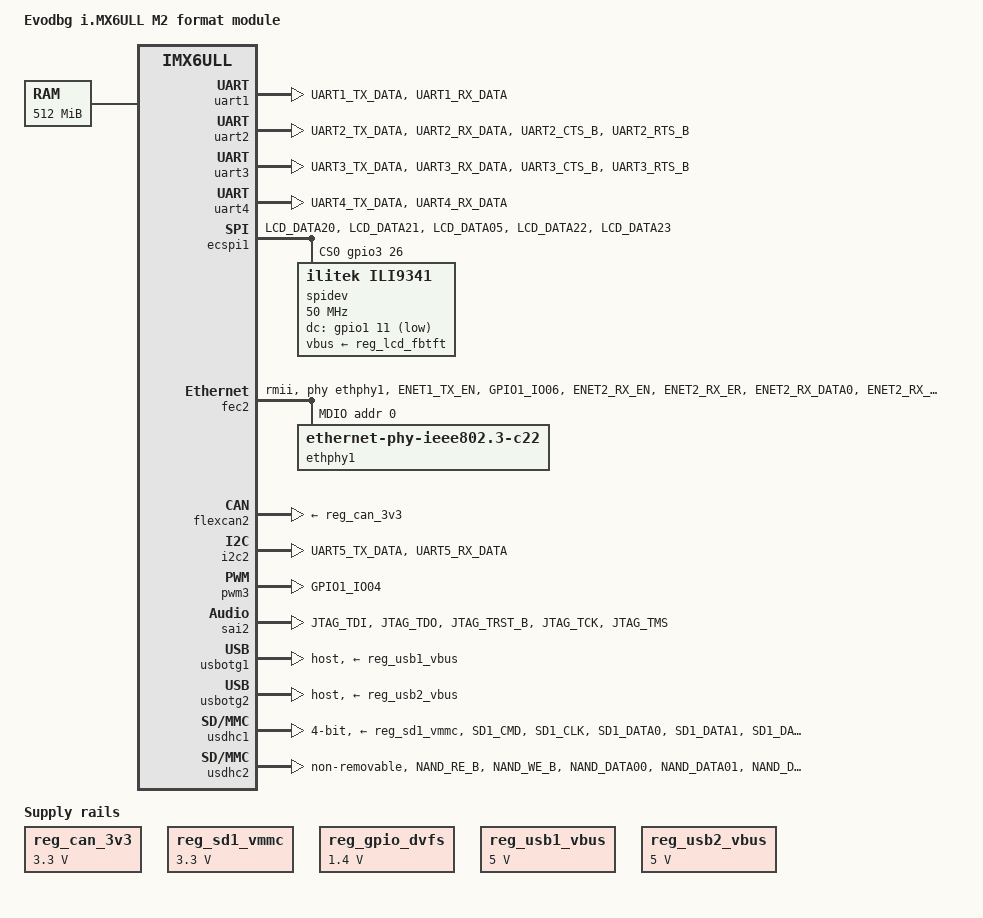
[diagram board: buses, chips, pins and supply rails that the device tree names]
/*
 * Copyright (C) 2015 Freescale Semiconductor, Inc.
 *
 * This program is free software; you can redistribute it and/or modify
 * it under the terms of the GNU General Public License version 2 as
 * published by the Free Software Foundation.
 */

 /*
  * EV-iMX6UL-NANO module
  * www.evodbg.com
  * contact  r.sariev@evodbg.com
  */ 

/dts-v1/;

#include <dt-bindings/input/input.h>
#include "imx6ull.dtsi"


/ {
	model = "Evodbg i.MX6ULL M2 format module";
	compatible = "fsl,imx6ull-14x14-evk", "fsl,imx6ull";

	chosen {
		stdout-path = &uart1;
	};

	memory {
		reg = <0x80000000 0x20000000>;
	};

	reserved-memory {
		#address-cells = <1>;
		#size-cells = <1>;
		ranges;

		linux,cma {
			compatible = "shared-dma-pool";
			reusable;
			size = <0x14000000>;
			linux,cma-default;
		};
	};

	regulators {
		compatible = "simple-bus";
		#address-cells = <1>;
		#size-cells = <0>;

		reg_can_3v3: regulator@0 {
			compatible = "regulator-fixed";
			reg = <0>;
			regulator-name = "can-3v3";
			regulator-min-microvolt = <3300000>;
			regulator-max-microvolt = <3300000>;
			regulator-always-on;
		};

		reg_sd1_vmmc: regulator@1 {
			compatible = "regulator-fixed";
			regulator-name = "VSD_3V3";
			regulator-min-microvolt = <3300000>;
			regulator-max-microvolt = <3300000>;
			regulator-always-on;
		};
		
		reg_gpio_dvfs: regulator-gpio {
                        compatible = "regulator-fixed";
                        regulator-min-microvolt = <1400000>;
                        regulator-max-microvolt = <1400000>;
                        regulator-name = "gpio_dvfs";
                        regulator-always-on;
                };
                reg_usb1_vbus: regulator@2 {
                        compatible = "regulator-fixed";
                        reg = <2>;
                        regulator-name = "usb1_vbus";
                        regulator-min-microvolt = <5000000>;
                        regulator-max-microvolt = <5000000>;
			regulator-always-on;
                };


		reg_usb2_vbus: regulator@3 {
			reg = <3>;
			compatible = "regulator-fixed";
			regulator-name = "usb2_vbus";
			regulator-min-microvolt = <5000000>;
			regulator-max-microvolt = <5000000>;
			regulator-always-on;
		};
		reg_lcd_fbtft: regulator@4 {
			reg = <4>;
			regulator-name = "lcd_3v3";
                        regulator-min-microvolt = <3300000>;
                        regulator-max-microvolt = <3300000>;
			regulator-always-on;
                };
	};
		sound {
	};
};

&cpu0 {
	arm-supply = <&reg_arm>;
	soc-supply = <&reg_soc>;
	dc-supply = <&reg_gpio_dvfs>;
};

&clks {
	assigned-clocks = <&clks IMX6UL_CLK_PLL4_AUDIO_DIV>;
	assigned-clock-rates = <786432000>;
};

&csi {
	status = "disabled";
};

&uart1 {					// DUART console / UART1
	pinctrl-names = "default";
	pinctrl-0 = <&pinctrl_uart1>;
	status = "okay";
};


&uart2 { 					// UART2 RS485 mode
	pinctrl-names = "default";
	pinctrl-0 = <&pinctrl_uart2>;
	fsl,uart-has-rtscts;
	linux,rs485-enabled-at-boot-time;
	status = "okay";
};


&uart3 {					// UART3 RS485 mode
	pinctrl-names = "default";
	pinctrl-0 = <&pinctrl_uart3>;
	fsl,uart-has-rtscts;
	linux,rs485-enabled-at-boot-time;
	status = "okay";
};


&uart4 {					// UART4 
	pinctrl-names = "default";
	pinctrl-0 = <&pinctrl_uart4>;
	status = "okay";
};


&ecspi1 {
	fsl,spi-num-chipselects = <1>;
        cs-gpios = <&gpio3 26 0>;
	pinctrl-names = "default";
	pinctrl-0 = <&pinctrl_ecspi1>;
	status = "okay";

	spidev@0 {
		rotate = <90>;
                bgr;
                fps = <30>;
                compatible = "ilitek,ili9341";
                spi-max-frequency = <50000000>;   
                reg = <0>;
                regwidth = <8>;
                buswidth = <8>;
                verbose = <3>;
		dc-gpios = <&gpio1 11 GPIO_ACTIVE_LOW>;    /* JTAG_TMS */
		vbus-supply = <&reg_lcd_fbtft>;

	};
};

&fec2 {
        pinctrl-names = "default";
        pinctrl-0 = <&pinctrl_enet2>;
        phy-mode = "rmii";
        phy-reset-gpios = <&gpio3 23 1>;
        phy-reset-duration = <250>;
        phy-handle = <&ethphy1>;
        status = "okay";

        mdio {
                #address-cells = <1>;
                #size-cells = <0>;

                ethphy1: ethernet-phy@1 {
                        compatible = "ethernet-phy-ieee802.3-c22";
                        reg = <0>;
                };
        };
};



/* flexcan2 muxed with UART2 RTS/CTS pins */
&flexcan2 {
	pinctrl-names = "default";
	pinctrl-0 = <&pinctrl_flexcan2>;
	xceiver-supply = <&reg_can_3v3>;
	status = "okay";
};

&gpc {
	fsl,cpu_pupscr_sw2iso = <0x1>;
	fsl,cpu_pupscr_sw = <0x0>;
	fsl,cpu_pdnscr_iso2sw = <0x1>;
	fsl,cpu_pdnscr_iso = <0x1>;
	fsl,ldo-bypass = <0>; /* DCDC, ldo-enable */
};


&i2c2 {
	clock_frequency = <100000>;
	pinctrl-names = "default";
	pinctrl-0 = <&pinctrl_i2c2>;
	status = "okay";
};

&iomuxc_snvs {
        pinctrl-names = "default_snvs";
        pinctrl-0 = <&pinctrl_hog_2>;
        imx6ul-evk {
                pinctrl_hog_2: hoggrp-2 {
                        fsl,pins = <
				MX6UL_PAD_LCD_DATA18__GPIO3_IO23	0xb0
                        >;
		};
	};
};



&iomuxc {
	pinctrl-names = "default";
	pinctrl-0 = <&pinctrl_hog_1>;
	imx6ul-evk {
		pinctrl_hog_1: hoggrp-1 {
			fsl,pins = <
				MX6UL_PAD_UART1_RTS_B__GPIO1_IO19       0x17059    /* SD1 CD */
//				MX6UL_PAD_CSI_DATA04__GPIO4_IO25	0x1b0b0	   /* GPIO4_25 - gpio121 */
//				MX6UL_PAD_CSI_DATA05__GPIO4_IO26	0x1b0b0    /* GPIO4_26 - gpio122 */
//				MX6UL_PAD_CSI_DATA06__GPIO4_IO27	0x1b0b0    /* GPIO4_27 - gpio123 */
//				MX6UL_PAD_CSI_DATA07__GPIO4_IO28	0x1b0b0    /* GPIO4_28 - gpio124  */
//				MX6UL_PAD_UART2_RTS_B__GPIO1_IO23	0x1b0b0	   /* UART2-RTS - LCD DC */
//				MX6UL_PAD_UART3_RTS_B__GPIO1_IO27	0x1b0b0	   /* UART3-RTS - LCD RESET */


// Main Connector                                                                     Module pin
//				MX6UL_PAD_CSI_MCLK__GPIO4_IO17				/* 21 / CSI_MCLK */
//				MX6UL_PAD_CSI_PIXCLK__GPIO4_IO18			/* 23 / CSI_PIXCLK */
//				MX6UL_PAD_CSI_VSYNC__GPIO4_IO19				/* 25 / CSI_VSYNC */
//				MX6UL_PAD_UART4_TX_DATA__GPIO1_IO28			/* 26 / UART4_TX
//				MX6UL_PAD_CSI_HSYNC__GPIO4_IO20				/* 27 / CSI_HSYNC */
//				MX6UL_PAD_UART4_RX_DATA__GPIO1_IO29			/* 28 / UART4_RX */
//				MX6UL_PAD_CSI_DATA00__GPIO4_IO21			/* 29 / CSI_DATA00 */
//				MX6UL_PAD_UART5_TX_DATA__GPIO1_IO30			/* 30 / I2C2_SCL */
//			    	MX6UL_PAD_CSI_DATA01__GPIO4_IO22			/* 31 / CSI_DATA01 */
//				MX6UL_PAD_UART5_RX_DATA__GPIO1_IO31			/* 32 / I2C2_SDA */
//				MX6UL_PAD_CSI_DATA02__GPIO4_IO23			/* 33 / CSI_DATA02 */
//				MX6UL_PAD_LCD_DATA20__GPIO3_IO25			/* 34 / ECSPI1_SCLK */
//				MX6UL_PAD_CSI_DATA03__GPIO4_IO24			/* 35 / CSI_DATA03 */
//				MX6UL_PAD_LCD_DATA23__GPIO3_IO28			/* 36 / ECSPI1_MISO */
//				MX6UL_PAD_CSI_DATA04__GPIO4_IO25			/* 37 / CSI_DATA04 */
//				MX6UL_PAD_LCD_DATA22__GPIO3_IO27			/* 38 / ECSPI1_MOSI */
//				MX6UL_PAD_CSI_DATA05__GPIO4_IO26			/* 39 / CSI_DATA05 */
//				MX6UL_PAD_LCD_DATA21__GPIO3_IO26			/* 40 / ECSPI1_SS0 */
//				MX6UL_PAD_CSI_DATA06__GPIO4_IO27			/* 41 / CSI_DATA06 */
//				MX6UL_PAD_LCD_DATA05__GPIO3_IO10			/* 42 / ECSPI1_SS1 */
//				MX6UL_PAD_CSI_DATA07__GPIO4_IO28			/* 43 / CSI_DATA07 */
//				MX6UL_PAD_UART1_TX_DATA__GPIO1_IO16			/* 45 / UART1_TX */
//				MX6UL_PAD_UART1_RX_DATA__GPIO1_IO17			/* 47 / UART1_RX */
//				MX6UL_PAD_GPIO1_IO04__GPIO1_IO04			/* 48 / PWM3 */
//				MX6UL_PAD_JTAG_MOD__GPIO1_IO10				/* 49 / SPDIF_OUT */
//				MX6UL_PAD_JTAG_TCK__GPIO1_IO14				/* 50 / SAI2_RXD */
//				MX6UL_PAD_SD1_CLK__GPIO2_IO17				/* 51 / SD1_CLK */
//				MX6UL_PAD_JTAG_TMS__GPIO1_IO11		0x1b0b0		/* 52 / SAI2_MCLK */
//				MX6UL_PAD_SD1_CMD__GPIO2_IO16				/* 53 / SD1_CMD */
//				MX6UL_PAD_JTAG_TDI__GPIO1_IO13				/* 54 / SAI2_BCLK */
//				MX6UL_PAD_SD1_DATA0__GPIO2_IO18				/* 55 / SD1_DATA0 */
//				MX6UL_PAD_JTAG_TDO__GPIO1_IO12				/* 56 / SAI2_SYNC */
//				MX6UL_PAD_SD1_DATA1__GPIO2_IO19				/* 57 / SD1_DATA1 */
//				MX6UL_PAD_JTAG_TRST_B__GPIO1_IO15			/* 58 / SAI2_TXD */
//				MX6UL_PAD_SD1_DATA2__GPIO2_IO20				/* 59 / SD1_DATA2 */
//				MX6UL_PAD_UART3_TX_DATA__GPIO1_IO24			/* 60 / UART3_TX */
//				MX6UL_PAD_SD1_DATA3__GPIO2_IO21				/* 61 / SD1_DATA3 */
//				MX6UL_PAD_UART3_RX_DATA__GPIO1_IO25			/* 62 / UART3_RX */
//				MX6UL_PAD_UART1_RTS_B__GPIO1_IO19			/* 63 / SD1_CD */
//				MX6UL_PAD_UART3_RTS_B__GPIO1_IO27			/* 64 / UART3_RTS */
//				MX6UL_PAD_UART3_CTS_B__GPIO1_IO26			/* 66 / UART3_CTS */
//				MX6UL_PAD_UART2_TX_DATA__GPIO1_IO20			/* 68 / UART2_TX */
//				MX6UL_PAD_GPIO1_IO00__GPIO1_IO00			/* 69 / USB1_ID */
//				MX6UL_PAD_UART2_RX_DATA__GPIO1_IO21			/* 70 / UART2_RX */
//				MX6UL_PAD_UART2_RTS_B__GPIO1_IO23			/* 72 / UART2_RTS */
//				MX6UL_PAD_UART2_CTS_B__GPIO1_IO22			/* 74 / UART2_CTS */
// Full pin function list see in imx6ul-pinfunc.h and imx6ull-pinfunc.h.



			>;
		};

		pinctrl_enet2: enet2grp {
			fsl,pins = <
				MX6UL_PAD_ENET1_TX_EN__ENET2_MDC	0x1b0b0
				MX6UL_PAD_GPIO1_IO06__ENET2_MDIO	0x1b0b0
				MX6UL_PAD_ENET2_RX_EN__ENET2_RX_EN	0x1b0b0
				MX6UL_PAD_ENET2_RX_ER__ENET2_RX_ER	0x1b0b0
				MX6UL_PAD_ENET2_RX_DATA0__ENET2_RDATA00	0x1b0b0
				MX6UL_PAD_ENET2_RX_DATA1__ENET2_RDATA01	0x1b0b0
				MX6UL_PAD_ENET2_TX_EN__ENET2_TX_EN	0x1b0b0
				MX6UL_PAD_ENET2_TX_DATA0__ENET2_TDATA00	0x1b0b0
				MX6UL_PAD_ENET2_TX_DATA1__ENET2_TDATA01	0x1b0b0
				MX6UL_PAD_ENET2_TX_CLK__ENET2_REF_CLK2	0x4001b031
			>;
		};

		pinctrl_flexcan1: flexcan1grp{
			fsl,pins = <
//				MX6UL_PAD_UART3_RTS_B__FLEXCAN2_RX	0x1b020
//				MX6UL_PAD_UART3_CTS_B__FLEXCAN2_TX	0x1b020
			>;
		};


		pinctrl_flexcan2: flexcan2grp{
			fsl,pins = <
//				MX6UL_PAD_UART2_RTS_B__FLEXCAN2_RX	0x1b020
//				MX6UL_PAD_UART2_CTS_B__FLEXCAN2_TX	0x1b020
			>;
		};

		pinctrl_i2c2: i2c2grp {
                        fsl,pins = <
                                MX6UL_PAD_UART5_TX_DATA__I2C2_SCL 0x4001b8b0
                                MX6UL_PAD_UART5_RX_DATA__I2C2_SDA 0x4001b8b0
                        >;
                };

		pinctrl_pwm3: pwm3grp {
			fsl,pins = <
				MX6UL_PAD_GPIO1_IO04__PWM3_OUT   	0x110b0   	/* ok */
			>;
		};

		pinctrl_sai2: sai2grp {
			fsl,pins = <
				MX6UL_PAD_JTAG_TDI__SAI2_TX_BCLK        0x17088		/* ok */
                                MX6UL_PAD_JTAG_TDO__SAI2_TX_SYNC        0x17088
                                MX6UL_PAD_JTAG_TRST_B__SAI2_TX_DATA     0x11088
                                MX6UL_PAD_JTAG_TCK__SAI2_RX_DATA        0x11088
                                MX6UL_PAD_JTAG_TMS__SAI2_MCLK           0x17088

			>;
		};

		pinctrl_ecspi1: spi1grp {
			fsl,pins = <
				MX6UL_PAD_LCD_DATA20__ECSPI1_SCLK	0x1b0b1		/* ok */
//				MX6UL_PAD_LCD_DATA21__ECSPI1_SS0	0x1b0b1
				MX6UL_PAD_LCD_DATA21__GPIO3_IO26	0x1b0b1		/* CS0 */
				MX6UL_PAD_LCD_DATA05__GPIO3_IO10	0x1b0b1		/* CS1 */
				MX6UL_PAD_LCD_DATA22__ECSPI1_MOSI	0x1b0b1
				MX6UL_PAD_LCD_DATA23__ECSPI1_MISO	0x1b0b1

			>;
		};

		pinctrl_uart1: uart1grp {
			fsl,pins = <
				MX6UL_PAD_UART1_TX_DATA__UART1_DCE_TX 0x1b0b1		/* ok */
				MX6UL_PAD_UART1_RX_DATA__UART1_DCE_RX 0x1b0b15
			>;
		};

		pinctrl_uart2: uart2grp {
			fsl,pins = <
				MX6UL_PAD_UART2_TX_DATA__UART2_DCE_TX	0x1b0b1		/* ok */
				MX6UL_PAD_UART2_RX_DATA__UART2_DCE_RX	0x1b0b1
				MX6UL_PAD_UART2_CTS_B__UART2_DCE_CTS    0x1b0b1
				MX6UL_PAD_UART2_RTS_B__UART2_DCE_RTS	0x1b0b1
			>;
		};

		pinctrl_uart3: uart3grp {
			fsl,pins = <
				MX6UL_PAD_UART3_TX_DATA__UART3_DCE_TX	0x1b0b1		/* ok */
				MX6UL_PAD_UART3_RX_DATA__UART3_DCE_RX	0x1b0b1
				MX6UL_PAD_UART3_CTS_B__UART3_DCE_CTS	0x1b0b1
				MX6UL_PAD_UART3_RTS_B__UART3_DCE_RTS	0x1b0b1
			>;
		};

		pinctrl_uart4: uart4grp {
			fsl,pins = <
				MX6UL_PAD_UART4_TX_DATA__UART4_DCE_TX	0x1b0b1		/* ok */
				MX6UL_PAD_UART4_RX_DATA__UART4_DCE_RX	0x1b0b1
			>;
		};

		pinctrl_uart5: uart5grp {
			fsl,pins = <
				MX6UL_PAD_CSI_DATA00__UART5_DCE_TX	0x1b0b1
				MX6UL_PAD_CSI_DATA01__UART5_DCE_RX	0x1b0b1
				MX6UL_PAD_CSI_DATA02__UART5_DCE_RTS	0x1b0b1
				MX6UL_PAD_CSI_DATA03__UART5_DCE_CTS	0x1b0b1
			>;
		};

		pinctrl_uart6: uart6grp {
			fsl,pins = <
				MX6UL_PAD_CSI_MCLK__UART6_DCE_TX	0x1b0b1
				MX6UL_PAD_CSI_PIXCLK__UART6_DCE_RX	0x1b0b1
				MX6UL_PAD_CSI_VSYNC__UART6_DCE_RTS	0x1b0b1
				MX6UL_PAD_CSI_HSYNC__UART6_DCE_CTS	0x1b0b1
			>;
		};

		pinctrl_usdhc1: usdhc1grp {
			fsl,pins = <
				MX6UL_PAD_SD1_CMD__USDHC1_CMD     0x17059
				MX6UL_PAD_SD1_CLK__USDHC1_CLK     0x10071
				MX6UL_PAD_SD1_DATA0__USDHC1_DATA0 0x17059
				MX6UL_PAD_SD1_DATA1__USDHC1_DATA1 0x17059
				MX6UL_PAD_SD1_DATA2__USDHC1_DATA2 0x17059
				MX6UL_PAD_SD1_DATA3__USDHC1_DATA3 0x17059
			>;
		};

		pinctrl_usdhc2: usdhc2grp {
			fsl,pins = <
				MX6UL_PAD_NAND_RE_B__USDHC2_CLK     0x10069
				MX6UL_PAD_NAND_WE_B__USDHC2_CMD     0x17059
				MX6UL_PAD_NAND_DATA00__USDHC2_DATA0 0x17059
				MX6UL_PAD_NAND_DATA01__USDHC2_DATA1 0x17059
				MX6UL_PAD_NAND_DATA02__USDHC2_DATA2 0x17059
				MX6UL_PAD_NAND_DATA03__USDHC2_DATA3 0x17059
				MX6UL_PAD_NAND_DATA04__USDHC2_DATA4 0x17059
				MX6UL_PAD_NAND_DATA05__USDHC2_DATA5 0x17059
				MX6UL_PAD_NAND_DATA06__USDHC2_DATA6 0x17059
				MX6UL_PAD_NAND_DATA07__USDHC2_DATA7 0x17059
			>;
		};

		pinctrl_wdog: wdoggrp {
			fsl,pins = <
				MX6UL_PAD_LCD_RESET__WDOG1_WDOG_ANY    0x30b0
			>;
		};

//		pinctrl_usb1vbus_gpio: usb1vbusgrp {
//			fsl,pins = <
//				MX6UL_PAD_LCD_DATA05__GPIO3_IO10	0x30b0
//	>;
//    };
	};
};


&pwm3 {
	pinctrl-names = "default";
	pinctrl-0 = <&pinctrl_pwm3>;
	status = "okay";
};

&sai2 {
	pinctrl-names = "default";
	pinctrl-0 = <&pinctrl_sai2>;

	assigned-clocks = <&clks IMX6UL_CLK_SAI2_SEL>,
			  <&clks IMX6UL_CLK_SAI2>;
	assigned-clock-parents = <&clks IMX6UL_CLK_PLL4_AUDIO_DIV>;
	assigned-clock-rates = <0>, <12288000>;
	status = "okay";
};

&usbotg1 {
	dr_mode = "host";
	srp-disable;
	hnp-disable;
	adp-disable;
	vbus-supply = <&reg_usb1_vbus>;
	status = "okay";
};

&usbotg2 {
	dr_mode = "host";
	disable-over-current;
	vbus-supply = <&reg_usb2_vbus>;
	status = "okay";
};

&usbphy1 {
	tx-d-cal = <0x5>;
};

&usbphy2 {
	tx-d-cal = <0x5>;
};

&usdhc1 {
        pinctrl-names = "default";
        pinctrl-0 = <&pinctrl_usdhc1>;
        cd-gpios = <&gpio1 19 GPIO_ACTIVE_LOW>;
        keep-power-in-suspend;
        enable-sdio-wakeup;
	no-1-8-v;
	bus-width = <4>; 
        vmmc-supply = <&reg_sd1_vmmc>;
        status = "okay";
};

&usdhc2 {
	pinctrl-names = "default";
	pinctrl-0 = <&pinctrl_usdhc2>;
	no-1-8-v;
	non-removable;
	keep-power-in-suspend;
	enable-sdio-wakeup;
	status = "okay";
};

&wdog1 {
	pinctrl-names = "default";
	pinctrl-0 = <&pinctrl_wdog>;
	fsl,wdog_b;
};
